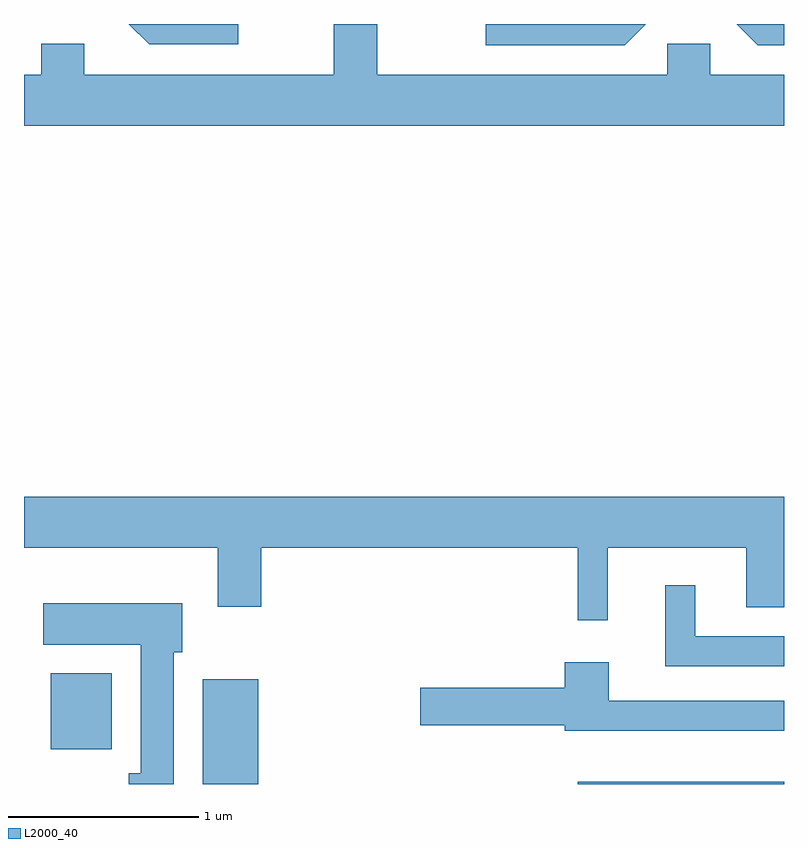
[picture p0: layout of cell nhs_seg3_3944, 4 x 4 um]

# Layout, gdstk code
import gdstk
lib = gdstk.Library(unit=1e-6, precision=1e-09)
def R(c, l, rs):  # rectangles x0, y0, x1, y1
    for r in rs: c.add(gdstk.rectangle(r[:2], r[2:], *l))
def P(c, l, *ps):  # polygons
    for p in ps: c.add(gdstk.Polygon(p, *l))
L2000_40 = (2000, 40)

nhs_seg3_3944 = lib.new_cell('nhs_seg3_3944')
R(nhs_seg3_3944, L2000_40, [(302.551,1115.892,302.844,1116.444), (304.526,1115.892,305.611,1115.904), (301.751,1116.076,302.074,1116.474)])
P(nhs_seg3_3944, L2000_40, [(305.611,1119.624),(305.224,1119.624),(305.224,1119.789),(304.996,1119.789),(304.996,1119.624),(303.469,1119.624),(303.469,1119.892),(303.241,1119.892),(303.241,1119.624),(301.929,1119.624),(301.929,1119.789),(301.701,1119.789),(301.701,1119.624),(301.611,1119.624),(301.611,1119.356),(305.611,1119.356)],
  [(304.883,1119.892),(304.041,1119.892),(304.041,1119.781),(304.772,1119.781)],
  [(305.611,1119.892),(305.363,1119.892),(305.474,1119.781),(305.611,1119.781)],
  [(302.738,1119.892),(302.163,1119.892),(302.269,1119.786),(302.738,1119.786)],
  [(304.684,1117.136),(305.411,1117.136),(305.411,1116.821),(305.611,1116.821),(305.611,1117.404),(301.611,1117.404),(301.611,1117.136),(302.631,1117.136),(302.631,1116.826),(302.859,1116.826),(302.859,1117.136),(304.526,1117.136),(304.526,1116.753),(304.684,1116.753)],
  [(305.611,1116.669),(305.144,1116.669),(305.144,1116.938),(304.986,1116.938),(304.986,1116.511),(305.611,1116.511)],
  [(302.399,1116.586),(302.444,1116.586),(302.444,1116.844),(301.711,1116.844),(301.711,1116.626),(302.226,1116.626),(302.226,1115.949),(302.163,1115.949),(302.163,1115.892),(302.399,1115.892)],
  [(305.611,1116.329),(304.689,1116.329),(304.689,1116.534),(304.456,1116.534),(304.456,1116.399),(303.696,1116.399),(303.696,1116.201),(304.456,1116.201),(304.456,1116.171),(305.611,1116.171)])

lib.write_gds('nhs_seg3_3944.gds')
